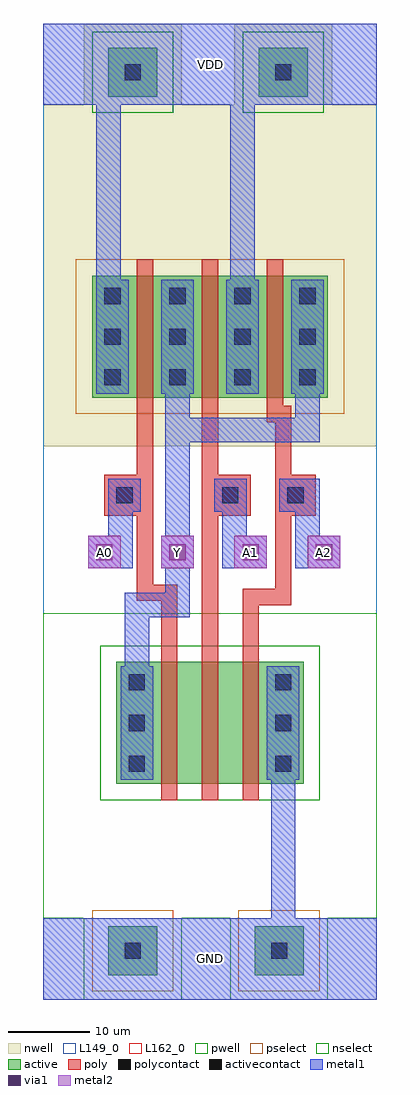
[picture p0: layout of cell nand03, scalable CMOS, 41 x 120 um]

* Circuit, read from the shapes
.subckt nand03 A0 A1 A2 GND VDD Y
M1 n1 A0 Y GND nfet w=15u l=2u
M2 n2 A1 n1 GND nfet w=15u l=2u
M3 GND A2 n2 GND nfet w=15u l=2u
M4 Y A0 VDD VDD pfet w=15u l=2u
M5 VDD A1 Y VDD pfet w=15u l=2u
M6 Y A2 VDD VDD pfet w=15u l=2u
.ends

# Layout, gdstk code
import gdstk
lib = gdstk.Library(unit=1e-6, precision=1e-09)
def R(c, l, rs):  # rectangles x0, y0, x1, y1
    for r in rs: c.add(gdstk.rectangle(r[:2], r[2:], *l))
def A(c, l, x, y, w, h, nx, ny, dx, dy):  # array of equal rectangles
    R(c, l, [(x+i*dx, y+j*dy, x+i*dx+w, y+j*dy+h) for i in range(nx) for j in range(ny)])
pwell = (41, 0)
nwell = (42, 0)
active = (43, 0)
pselect = (44, 0)
nselect = (45, 0)
poly = (46, 0)
polycontact = (47, 0)
activecontact = (48, 0)
metal1 = (49, 0)
via1 = (50, 0)
metal2 = (51, 0)
L149_0 = (149, 0)
L162_0 = (162, 0)

nwell_contact = lib.new_cell('nwell_contact')
R(nwell_contact, nwell, [(-6,-5,6,6)])
R(nwell_contact, active, [(-3,-3,3,3)])
R(nwell_contact, nselect, [(-5,-5,5,5)])
R(nwell_contact, activecontact, [(-1,-1,1,1)])

pwell_contact = lib.new_cell('pwell_contact')
R(pwell_contact, pwell, [(-6,-6,6,5)])
R(pwell_contact, active, [(-3,-3,3,3)])
R(pwell_contact, pselect, [(-5,-5,5,5)])
R(pwell_contact, activecontact, [(-1,-1,1,1)])

via = lib.new_cell('via')
R(via, metal1, [(-2,-2,2,2)])
R(via, via1, [(-1,-1,1,1)])
R(via, metal2, [(-2,-2,2,2)])

nand03 = lib.new_cell('nand03')
R(nand03, pwell, [(0,10,41,20), (0,10,41,47.5), (3,20.5,38,47.5)])
R(nand03, nwell, [(0,68,41,95), (0,68,41,110), (0,95,41,110)])
R(nand03, active, [(9,26.5,32,41.5), (6,74,35,89)])
R(nand03, pselect, [(4,72,37,91)])
R(nand03, nselect, [(7,24.5,34,43.5)])
A(nand03, poly, 14.5, 24.5, 2, 2, 3, 2, 5, 17)
A(nand03, poly, 14.5, 26.5, 2, 15, 3, 1, 5, 0)
A(nand03, poly, 11.5, 72, 2, 2, 3, 2, 8, 17)
A(nand03, poly, 11.5, 74, 2, 15, 3, 1, 8, 0)
R(nand03, poly, [(7.5,59.5,12.5,64.5), (20.5,59.5,25.5,64.5), (28.5,59.5,33.5,64.5)])
R(nand03, polycontact, [(9,61,11,63), (22,61,24,63), (30,61,32,63)])
A(nand03, activecontact, 10.5, 28, 2, 2, 1, 3, 0, 5)
A(nand03, activecontact, 28.5, 28, 2, 2, 1, 3, 0, 5)
A(nand03, activecontact, 7.5, 75.5, 2, 2, 4, 3, 8, 5)
A(nand03, metal1, 6.5, 74.5, 4, 14, 4, 1, 8, 0)
R(nand03, metal1, [(0,0,41,10), (0,0,41,10), (9.5,27,13.5,41), (27.5,27,31.5,41), (8,60,12,64), (21,60,25,64), (29,60,33,64), (0,110,41,120), (0,110,41,120)])
A(nand03, metal2, 5.5, 53, 4, 4, 4, 1, 9, 0)
R(nand03, L149_0, [(0,0,41,10), (0,0,41,120), (8,60,12,64), (21,60,25,64), (29,60,33,64), (0,110,41,120)])
A(nand03, L162_0, 5.5, 53, 4, 4, 4, 1, 9, 0)
nand03.add(gdstk.FlexPath([(29.5,27),(29.5,10)], 3, ends="flush", simple_path=True, layer=149, datatype=0))  # L149_0
nand03.add(gdstk.FlexPath([(24.5,88.5),(24.5,110)], 3, ends="flush", simple_path=True, layer=149, datatype=0))  # L149_0
nand03.add(gdstk.FlexPath([(16.5,74.5),(16.5,48.5),(11.5,48.5),(11.5,41)], 3, ends="flush", simple_path=True, layer=149, datatype=0))  # L149_0
nand03.add(gdstk.FlexPath([(8,88.5),(8,110)], 3, ends="flush", simple_path=True, layer=149, datatype=0))  # L149_0
nand03.add(gdstk.FlexPath([(23.5,53),(23.5,64)], 3, ends="flush", simple_path=True, layer=149, datatype=0))  # L149_0
nand03.add(gdstk.FlexPath([(9.5,53),(9.5,64)], 3, ends="flush", simple_path=True, layer=149, datatype=0))  # L149_0
nand03.add(gdstk.FlexPath([(18,70),(32.5,70),(32.5,74.5)], 3, ends="flush", simple_path=True, layer=149, datatype=0))  # L149_0
nand03.add(gdstk.FlexPath([(32.5,53),(32.5,64)], 3, ends="flush", simple_path=True, layer=149, datatype=0))  # L149_0
nand03.add(gdstk.FlexPath([(29.5,27),(29.5,10)], 3, ends="flush", simple_path=True, layer=49, datatype=0))  # metal1
nand03.add(gdstk.FlexPath([(24.5,88.5),(24.5,110)], 3, ends="flush", simple_path=True, layer=49, datatype=0))  # metal1
nand03.add(gdstk.FlexPath([(16.5,74.5),(16.5,48.5),(11.5,48.5),(11.5,41)], 3, ends="flush", simple_path=True, layer=49, datatype=0))  # metal1
nand03.add(gdstk.FlexPath([(8,88.5),(8,110)], 3, ends="flush", simple_path=True, layer=49, datatype=0))  # metal1
nand03.add(gdstk.FlexPath([(23.5,53),(23.5,64)], 3, ends="flush", simple_path=True, layer=49, datatype=0))  # metal1
nand03.add(gdstk.FlexPath([(9.5,53),(9.5,64)], 3, ends="flush", simple_path=True, layer=49, datatype=0))  # metal1
nand03.add(gdstk.FlexPath([(18,70),(32.5,70),(32.5,74.5)], 3, ends="flush", simple_path=True, layer=49, datatype=0))  # metal1
nand03.add(gdstk.FlexPath([(32.5,53),(32.5,64)], 3, ends="flush", simple_path=True, layer=49, datatype=0))  # metal1
nand03.add(gdstk.FlexPath([(20.5,72),(20.5,43.5)], 2, ends="flush", simple_path=True, layer=46, datatype=0))  # poly
nand03.add(gdstk.FlexPath([(12.5,72),(12.5,50),(15.5,50),(15.5,43.5)], 2, ends="flush", simple_path=True, layer=46, datatype=0))  # poly
nand03.add(gdstk.FlexPath([(27.5,72),(29.5,72),(29.5,49.5),(25.5,49.5),(25.5,43.5)], 2, ends="flush", simple_path=True, layer=46, datatype=0))  # poly
nand03.add(gdstk.Reference(nwell_contact, (29.5,114)))
nand03.add(gdstk.Reference(nwell_contact, (11,114)))
nand03.add(gdstk.Reference(pwell_contact, (29,6)))
nand03.add(gdstk.Reference(pwell_contact, (11,6)))
nand03.add(gdstk.Reference(via, (16.5,55)))
nand03.add(gdstk.Reference(via, (25.5,55)))
nand03.add(gdstk.Reference(via, (34.5,55)))
nand03.add(gdstk.Reference(via, (7.5,55)))
nand03.add(gdstk.Label('A1', (25.5,55), layer=3, texttype=0))
nand03.add(gdstk.Label('A2', (34.5,55), layer=3, texttype=0))
nand03.add(gdstk.Label('A0', (7.5,55), layer=3, texttype=0))
nand03.add(gdstk.Label('Y', (16.5,55), layer=3, texttype=0))
nand03.add(gdstk.Label('GND', (20.5,5), layer=2, texttype=0))
nand03.add(gdstk.Label('VDD', (20.5,115), layer=2, texttype=0))

lib.write_gds('nand03.gds')
